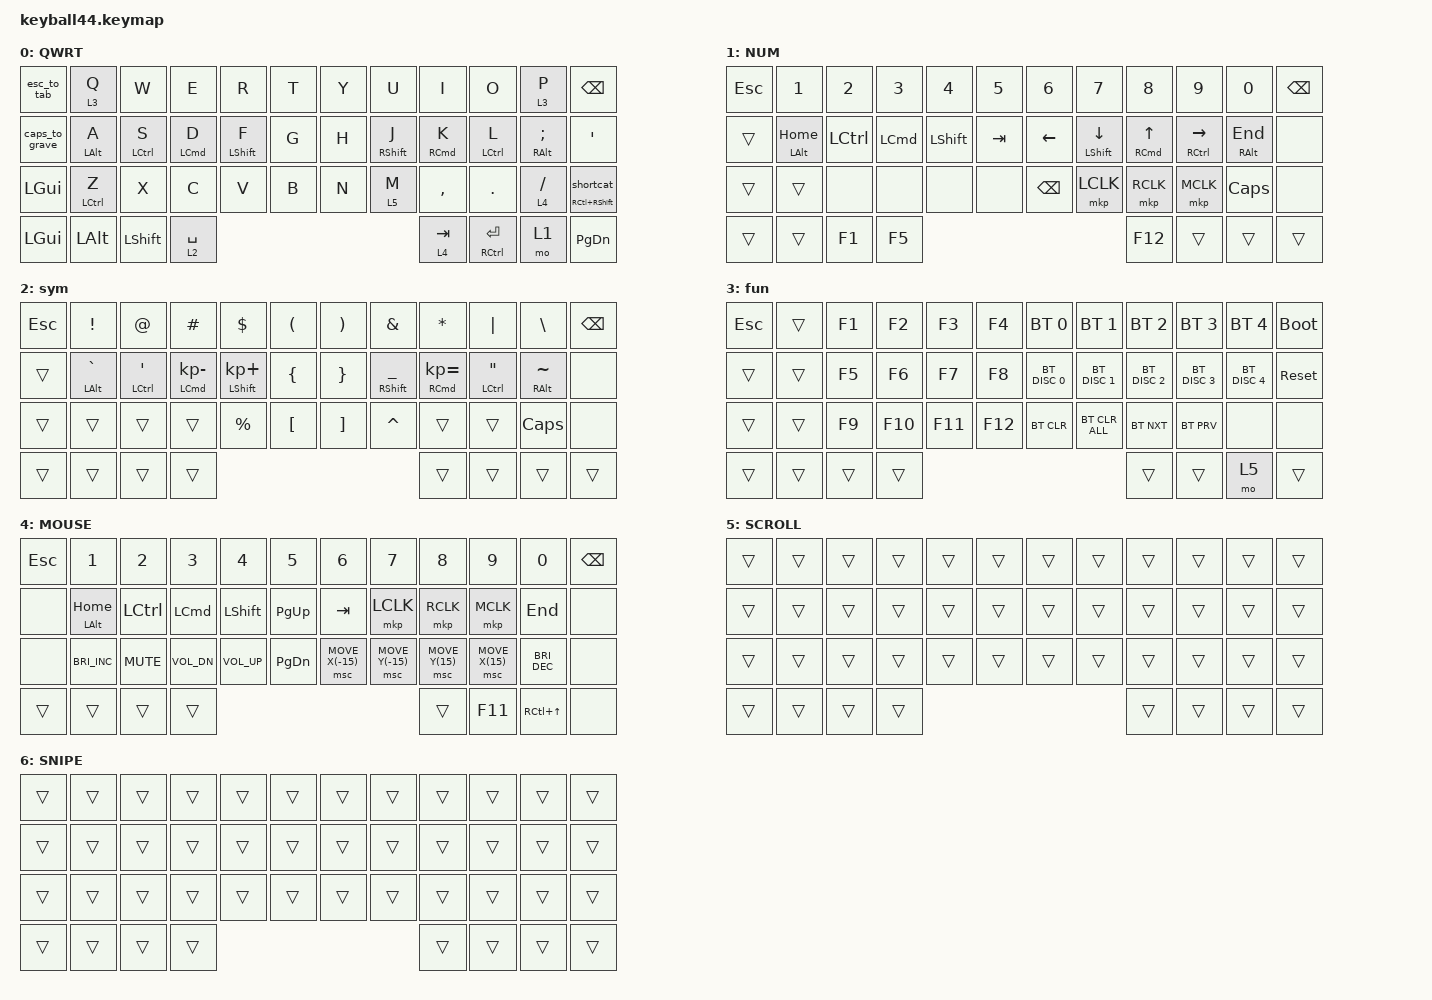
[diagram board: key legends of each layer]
#define DEFAULT 0
#define NUM     1
#define SYM     2
#define FUN     3
#define MOUSE   4
#define SCROLL  5
#define SNIPE   6

#include <behaviors/mouse_keys.dtsi>
#include <dt-bindings/zmk/mouse.h>
#include <behaviors.dtsi>
#include <dt-bindings/zmk/bt.h>
#include <dt-bindings/zmk/keys.h>
#include <dt-bindings/zmk/pointing.h>

#define U_TAPPING_TERM 200

&lt {
    tapping-term-ms = <200>;
    flavor = "balanced";
    quick-tap-ms = <200>;
};

&mt {
    tapping-term-ms = <150>;
    flavor = "tap-preferred";
    quick-tap-ms = <150>;
};

&caps_word { continue-list = <UNDERSCORE MINUS>; };

/ {
    // custom shift using mod-morph 

    behaviors {
        cmqus: comma_question {
            compatible = "zmk,behavior-mod-morph";
            label = "COMMA_QUESTION";
            #binding-cells = <0>;
            bindings = <&kp COMMA>, <&kp QUESTION>;

            mods = <(MOD_LSFT|MOD_RSFT)>;
        };

        dtsmi: dot_semi {
            compatible = "zmk,behavior-mod-morph";
            label = "DOT_SEMI";
            #binding-cells = <0>;
            bindings = <&kp DOT>, <&kp SEMI>;

            mods = <(MOD_LSFT|MOD_RSFT)>;
        };

        hrm_right: hrm_right {
            compatible = "zmk,behavior-hold-tap";
            label = "Homerow Mods Right";
            bindings = <&kp>, <&kp>;

            #binding-cells = <2>;
            hold-trigger-key-positions = <0 1 2 3 4 5 12 13 14 15 16 17 24 25 26 27 28 29 36 37 38 39 40>;
            tapping-term-ms = <180>;
            quick-tap-ms = <180>;
            flavor = "tap-preferred";
        };

        hrm_left: hrm_left {
            compatible = "zmk,behavior-hold-tap";
            label = "Homerow Mods Left";
            bindings = <&kp>, <&kp>;

            #binding-cells = <2>;
            tapping-term-ms = <180>;
            quick-tap-ms = <180>;
            flavor = "tap-preferred";
            hold-trigger-key-positions = <6 7 9 10 11 18 19 20 21 22 23 30 31 32 33 34 35 41 42 43 8>;
        };

        esc_to_tab: esc_to_tab {
            compatible = "zmk,behavior-mod-morph";
            label = "ESC_TO_TAB";
            bindings = <&kp ESCAPE>, <&kp TAB>;

            #binding-cells = <0>;
            mods = <(MOD_LGUI)>;
            keep-mods = <(MOD_LGUI)>;
        };

        shortcat_combo: shortcat_combo {
            compatible = "zmk,behavior-hold-tap";
            label = "SHORTCAT_COMBO";
            bindings = <&kp>, <&shortcat>;

            #binding-cells = <2>;
            tapping-term-ms = <180>;
            quick-tap-ms = <180>;
            flavor = "tap-preferred";
            hold-trigger-key-positions = <0 1 2 3 4 5 12 13 14 15 16 17 24 25 26 27 28 29 36 37 38 39 40>;
        };

        caps_to_grave: caps_to_grave {
            compatible = "zmk,behavior-mod-morph";
            label = "CAPS_TO_GRAVE";
            bindings = <&kp CAPSLOCK>, <&kp GRAVE>;

            #binding-cells = <0>;
            keep-mods = <(MOD_LGUI)>;
            mods = <(MOD_LGUI)>;
        };
    };

    combos {
        compatible = "zmk,combos";

        screenlock_combo {
            bindings = <&screenlock_mac>;
            key-positions = <42 11>;
        };

        layer_default {
            bindings = <&to 0>;
            key-positions = <6 42>;
        };

        layer_number {
            bindings = <&to 1>;
            key-positions = <42 7>;
        };

        layer_sysmbol {
            bindings = <&to 2>;
            key-positions = <42 8>;
        };

        layer_func {
            bindings = <&to 3>;
            key-positions = <42 9>;
        };

        layer_mouse {
            bindings = <&to 4>;
            key-positions = <42 10>;
        };

        scroll_layer {
            bindings = <&to 5>;
            key-positions = <42 18>;
        };
    };

    macros {
        screenlock_mac: screenlock_mac {
            compatible = "zmk,behavior-macro";
            #binding-cells = <0>;
            bindings =
                <&macro_press>,
                <&kp LCMD>,
                <&macro_press>,
                <&kp LCTRL>,
                <&macro_tap>,
                <&kp Q>,
                <&macro_release>,
                <&kp LCMD>,
                <&macro_release>,
                <&kp LCTRL>;

            label = "SCREENLOCK_MAC";
        };

        shortcat: shortcat {
            compatible = "zmk,behavior-macro";
            #binding-cells = <0>;
            bindings =
                <&macro_press>,
                <&kp LEFT_COMMAND>,
                <&macro_press>,
                <&kp LEFT_SHIFT>,
                <&macro_tap>,
                <&kp SPACE>,
                <&macro_release>,
                <&kp LEFT_COMMAND>,
                <&macro_release>,
                <&kp LEFT_SHIFT>;

            label = "SHORTCAT";
        };
    };

    keymap {
        compatible = "zmk,keymap";

        main {
            label = "QWRT";
            bindings = <
&esc_to_tab     &lt 3 Q            &kp W              &kp E             &kp R              &kp T                       &kp Y  &kp U               &kp I              &kp O               &lt 3 P               &kp BACKSPACE
&caps_to_grave  &hrm_left LALT A   &hrm_left LCTRL S  &hrm_left LCMD D  &hrm_left LSHFT F  &kp G                       &kp H  &hrm_right RSHFT J  &hrm_right RCMD K  &hrm_right LCTRL L  &hrm_right RALT SEMI  &kp SQT
&kp LGUI        &hrm_left LCTRL Z  &kp X              &kp C             &kp V              &kp B                       &kp N  &lt 5 M             &kp COMMA          &kp PERIOD          &lt 4 SLASH           &shortcat_combo RC(RIGHT_SHIFT) 0
&kp LGUI        &kp LALT           &kp LSHFT          &lt 2 SPACE       &lt 4 TAB                     &mt RCTRL ENTER  &mo 1                                                                                   &kp PAGE_DOWN
            >;
        };

        number {
            label = "NUM";
            bindings = <
&kp ESC  &kp NUMBER_1         &kp NUMBER_2  &kp NUMBER_3  &kp NUMBER_4  &kp NUMBER_5              &kp NUMBER_6    &kp NUMBER_7                 &kp NUMBER_8              &kp NUMBER_9            &kp NUMBER_0         &kp BACKSPACE
&trans   &hrm_left LALT HOME  &kp LCTRL     &kp LCMD      &kp LSHFT     &kp TAB                   &kp LEFT_ARROW  &hrm_right LSHFT DOWN_ARROW  &hrm_right RCMD UP_ARROW  &hrm_right RCTRL RIGHT  &hrm_right RALT END  &none
&trans   &trans               &none         &none         &none         &none                     &kp BACKSPACE   &mkp LCLK                    &mkp RCLK                 &mkp MCLK               &kp CAPS             &none
&trans   &trans               &kp F1        &kp F5        &kp F12                         &trans  &trans                                                                                                              &trans
            >;
        };

        symbol {
            label = "sym";
            bindings = <
&kp ESC  &kp EXCLAMATION       &kp AT_SIGN                   &kp HASH                 &kp DOLLAR               &kp LEFT_PARENTHESIS              &kp RIGHT_PARENTHESIS  &kp AMPERSAND                &kp ASTERISK              &kp PIPE                        &kp BACKSLASH          &kp BACKSPACE
&trans   &hrm_left LALT GRAVE  &hrm_left LCTRL SINGLE_QUOTE  &hrm_left LCMD KP_MINUS  &hrm_left LSHFT KP_PLUS  &kp LEFT_BRACE                    &kp RIGHT_BRACE        &hrm_right RSHFT UNDERSCORE  &hrm_right RCMD KP_EQUAL  &hrm_right LCTRL DOUBLE_QUOTES  &hrm_right RALT TILDE  &none
&trans   &trans                &trans                        &trans                   &kp PERCENT              &kp LEFT_BRACKET                  &kp RIGHT_BRACKET      &kp CARET                    &trans                    &trans                          &kp CAPS               &none
&trans   &trans                &trans                        &trans                   &trans                                             &trans  &trans                                                                                                                               &trans
            >;
        };

        function {
            label = "fun";
            bindings = <
&kp ESC  &trans  &kp F1  &kp F2   &kp F3   &kp F4               &bt BT_SEL 0   &bt BT_SEL 1    &bt BT_SEL 2   &bt BT_SEL 3   &bt BT_SEL 4   &bootloader
&trans   &trans  &kp F5  &kp F6   &kp F7   &kp F8               &bt BT_DISC 0  &bt BT_DISC 1   &bt BT_DISC 2  &bt BT_DISC 3  &bt BT_DISC 4  &sys_reset
&trans   &trans  &kp F9  &kp F10  &kp F11  &kp F12              &bt BT_CLR     &bt BT_CLR_ALL  &bt BT_NXT     &bt BT_PRV     &none          &none
&trans   &trans  &trans  &trans   &trans                &trans  &mo 5                                                                       &trans
            >;
        };

        mouse_layer {
            label = "MOUSE";
            bindings = <
&kp ESCAPE  &kp N1               &kp N2      &kp N3        &kp N4           &kp N5                      &kp N6            &kp N7            &kp N8           &kp N9           &kp N0         &kp BACKSPACE
&none       &hrm_left LALT HOME  &kp LCTRL   &kp LCMD      &kp LSHFT        &kp PAGE_UP                 &kp TAB           &mkp LCLK         &mkp RCLK        &mkp MCLK        &kp END        &none
&none       &kp C_BRI_INC        &kp K_MUTE  &kp C_VOL_DN  &kp C_VOLUME_UP  &kp PAGE_DOWN               &msc MOVE_X(-15)  &msc MOVE_Y(-15)  &msc MOVE_Y(15)  &msc MOVE_X(15)  &kp C_BRI_DEC  &none
&trans      &trans               &trans      &trans        &trans                              &kp F11  &kp RC(UP_ARROW)                                                                     &none
            >;
        };

        scroll {
            label = "SCROLL";
            bindings = <
&trans  &trans  &trans  &trans  &trans  &trans              &trans  &trans  &trans  &trans  &trans  &trans
&trans  &trans  &trans  &trans  &trans  &trans              &trans  &trans  &trans  &trans  &trans  &trans
&trans  &trans  &trans  &trans  &trans  &trans              &trans  &trans  &trans  &trans  &trans  &trans
&trans  &trans  &trans  &trans  &trans              &trans  &trans                                  &trans
            >;
        };

        snipe {
            label = "SNIPE";
            bindings = <
&trans  &trans  &trans  &trans  &trans  &trans              &trans  &trans  &trans  &trans  &trans  &trans
&trans  &trans  &trans  &trans  &trans  &trans              &trans  &trans  &trans  &trans  &trans  &trans
&trans  &trans  &trans  &trans  &trans  &trans              &trans  &trans  &trans  &trans  &trans  &trans
&trans  &trans  &trans  &trans  &trans              &trans  &trans                                  &trans
            >;
        };
    };
};
